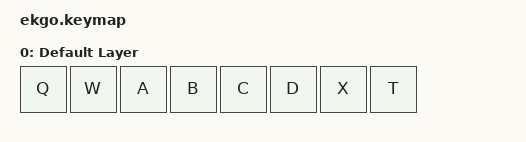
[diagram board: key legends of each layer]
/*
 * Copyright (c) 2020 The ZMK Contributors
 *
 * SPDX-License-Identifier: MIT
 */

#include <behaviors.dtsi>
#include <dt-bindings/zmk/keys.h>
#include <dt-bindings/zmk/bt.h>

/ {
        keymap {
                compatible = "zmk,keymap";
                default_layer {
                        display-name = "Default Layer";
                        bindings = <
                                &kp Q &kp W &kp A &kp B
                                &kp C &kp D &kp X &kp T 
                        >;
                };
        };
};
